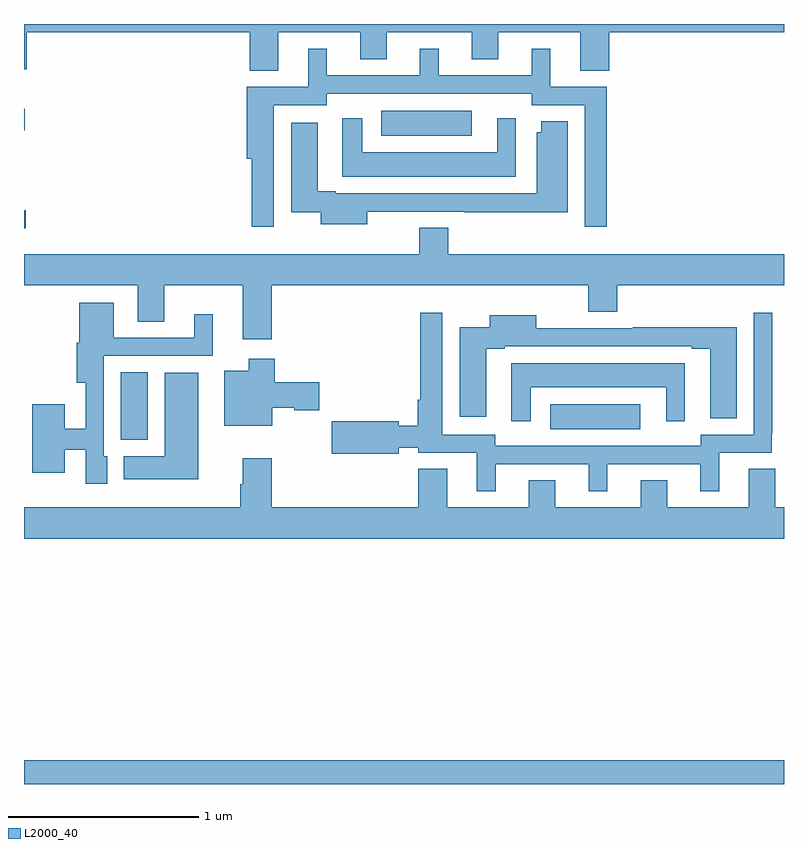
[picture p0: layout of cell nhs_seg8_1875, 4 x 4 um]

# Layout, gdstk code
import gdstk
lib = gdstk.Library(unit=1e-6, precision=1e-09)
def R(c, l, rs):  # rectangles x0, y0, x1, y1
    for r in rs: c.add(gdstk.rectangle(r[:2], r[2:], *l))
def P(c, l, *ps):  # polygons
    for p in ps: c.add(gdstk.Polygon(p, *l))
L2000_40 = (2000, 40)

nhs_seg8_1875 = lib.new_cell('nhs_seg8_1875')
R(nhs_seg8_1875, L2000_40, [(231,1089.9,235,1090.024), (231.509,1091.711,231.652,1092.068), (233.769,1091.768,234.244,1091.899), (231,1092.824,231.01,1092.921), (232.881,1093.313,233.356,1093.444), (231,1093.34,231.005,1093.453)])
P(nhs_seg8_1875, L2000_40, [(232.339,1093.856),(232.769,1093.856),(232.769,1093.714),(232.909,1093.714),(232.909,1093.856),(233.357,1093.856),(233.357,1093.714),(233.497,1093.714),(233.497,1093.856),(233.927,1093.856),(233.927,1093.654),(234.08,1093.654),(234.08,1093.856),(235,1093.856),(235,1093.9),(231,1093.9),(231,1093.662),(231.014,1093.662),(231.014,1093.856),(232.187,1093.856),(232.187,1093.654),(232.339,1093.654)],
  [(232.314,1093.473),(232.593,1093.473),(232.593,1093.533),(233.673,1093.533),(233.673,1093.473),(233.952,1093.473),(233.952,1092.834),(234.068,1092.834),(234.068,1093.569),(233.77,1093.569),(233.77,1093.771),(233.672,1093.771),(233.672,1093.629),(233.182,1093.629),(233.182,1093.771),(233.084,1093.771),(233.084,1093.629),(232.594,1093.629),(232.594,1093.771),(232.496,1093.771),(232.496,1093.569),(232.172,1093.569),(232.172,1093.19),(232.198,1093.19),(232.198,1092.834),(232.314,1092.834)],
  [(233.589,1093.405),(233.492,1093.405),(233.492,1093.225),(232.78,1093.225),(232.78,1093.405),(232.676,1093.405),(232.676,1093.097),(233.589,1093.097)],
  [(232.807,1092.912),(233.317,1092.912),(233.317,1092.91),(233.863,1092.91),(233.863,1093.387),(233.723,1093.387),(233.723,1093.329),(233.699,1093.329),(233.699,1093.008),(232.642,1093.008),(232.642,1093.021),(232.546,1093.021),(232.546,1093.381),(232.406,1093.381),(232.406,1092.91),(232.562,1092.91),(232.562,1092.845),(232.807,1092.845)],
  [(232.304,1092.524),(233.969,1092.524),(233.969,1092.385),(234.122,1092.385),(234.122,1092.524),(235,1092.524),(235,1092.688),(233.234,1092.688),(233.234,1092.827),(233.081,1092.827),(233.081,1092.688),(231,1092.688),(231,1092.524),(231.599,1092.524),(231.599,1092.334),(231.739,1092.334),(231.739,1092.524),(232.151,1092.524),(232.151,1092.24),(232.304,1092.24)],
  [(231.439,1091.625),(231.42,1091.625),(231.42,1092.153),(231.994,1092.153),(231.994,1092.373),(231.896,1092.373),(231.896,1092.249),(231.472,1092.249),(231.472,1092.433),(231.29,1092.433),(231.29,1092.222),(231.278,1092.222),(231.278,1092.011),(231.324,1092.011),(231.324,1091.769),(231.214,1091.769),(231.214,1091.899),(231.044,1091.899),(231.044,1091.538),(231.214,1091.538),(231.214,1091.658),(231.324,1091.658),(231.324,1091.481),(231.439,1091.481)],
  [(233.482,1091.583),(233.972,1091.583),(233.972,1091.442),(234.07,1091.442),(234.07,1091.583),(234.56,1091.583),(234.56,1091.442),(234.658,1091.442),(234.658,1091.643),(234.936,1091.643),(234.936,1091.746),(234.937,1091.746),(234.937,1092.379),(234.84,1092.379),(234.84,1091.739),(234.561,1091.739),(234.561,1091.679),(233.481,1091.679),(233.481,1091.739),(233.202,1091.739),(233.202,1092.379),(233.086,1092.379),(233.086,1091.923),(233.072,1091.923),(233.072,1091.786),(232.972,1091.786),(232.972,1091.81),(232.62,1091.81),(232.62,1091.639),(232.972,1091.639),(232.972,1091.67),(233.076,1091.67),(233.076,1091.643),(233.384,1091.643),(233.384,1091.442),(233.482,1091.442)],
  [(234.751,1092.303),(234.205,1092.303),(234.205,1092.3),(233.695,1092.3),(233.695,1092.367),(233.45,1092.367),(233.45,1092.303),(233.294,1092.303),(233.294,1091.832),(233.434,1091.832),(233.434,1092.192),(233.53,1092.192),(233.53,1092.204),(234.515,1092.204),(234.515,1092.192),(234.611,1092.192),(234.611,1091.826),(234.751,1091.826)],
  [(232.306,1091.879),(232.422,1091.879),(232.422,1091.867),(232.555,1091.867),(232.555,1092.014),(232.319,1092.014),(232.319,1092.139),(232.184,1092.139),(232.184,1092.076),(232.055,1092.076),(232.055,1091.786),(232.306,1091.786)],
  [(233.668,1091.987),(234.38,1091.987),(234.38,1091.808),(234.478,1091.808),(234.478,1092.115),(233.564,1092.115),(233.564,1091.808),(233.668,1091.808)],
  [(231.916,1092.064),(231.74,1092.064),(231.74,1091.626),(231.524,1091.626),(231.524,1091.504),(231.916,1091.504)],
  [(235,1091.356),(234.955,1091.356),(234.955,1091.558),(234.815,1091.558),(234.815,1091.356),(234.385,1091.356),(234.385,1091.498),(234.245,1091.498),(234.245,1091.356),(233.797,1091.356),(233.797,1091.498),(233.657,1091.498),(233.657,1091.356),(233.227,1091.356),(233.227,1091.558),(233.075,1091.558),(233.075,1091.356),(232.304,1091.356),(232.304,1091.614),(232.151,1091.614),(232.151,1091.477),(232.139,1091.477),(232.139,1091.356),(231,1091.356),(231,1091.192),(235,1091.192)])

lib.write_gds('nhs_seg8_1875.gds')
